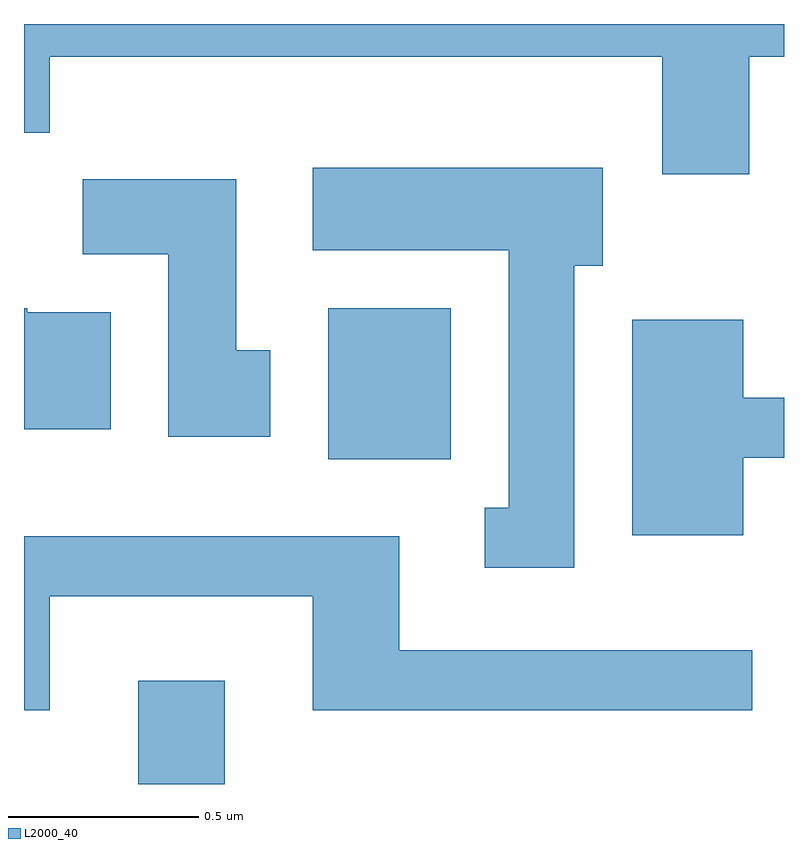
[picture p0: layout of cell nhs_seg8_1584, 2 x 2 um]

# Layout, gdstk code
import gdstk
lib = gdstk.Library(unit=1e-6, precision=1e-09)
def R(c, l, rs):  # rectangles x0, y0, x1, y1
    for r in rs: c.add(gdstk.rectangle(r[:2], r[2:], *l))
def P(c, l, *ps):  # polygons
    for p in ps: c.add(gdstk.Polygon(p, *l))
L2000_40 = (2000, 40)

nhs_seg8_1584 = lib.new_cell('nhs_seg8_1584')
R(nhs_seg8_1584, L2000_40, [(196.911,1883.342,197.139,1883.614), (197.411,1884.196,197.734,1884.594)])
P(nhs_seg8_1584, L2000_40, [(198.519,1885.256),(198.611,1885.256),(198.611,1885.342),(196.611,1885.342),(196.611,1885.056),(196.679,1885.056),(196.679,1885.256),(198.291,1885.256),(198.291,1884.946),(198.519,1884.946)],
  [(198.059,1884.706),(198.134,1884.706),(198.134,1884.964),(197.371,1884.964),(197.371,1884.746),(197.886,1884.746),(197.886,1884.069),(197.823,1884.069),(197.823,1883.911),(198.059,1883.911)],
  [(197.259,1884.484),(197.169,1884.484),(197.169,1884.934),(196.766,1884.934),(196.766,1884.736),(196.991,1884.736),(196.991,1884.256),(197.259,1884.256)],
  [(196.839,1884.584),(196.62,1884.584),(196.62,1884.594),(196.611,1884.594),(196.611,1884.276),(196.839,1884.276)],
  [(198.504,1884.201),(198.611,1884.201),(198.611,1884.359),(198.504,1884.359),(198.504,1884.564),(198.211,1884.564),(198.211,1883.996),(198.504,1883.996)],
  [(196.679,1883.836),(197.371,1883.836),(197.371,1883.536),(198.528,1883.536),(198.528,1883.694),(197.599,1883.694),(197.599,1883.994),(196.611,1883.994),(196.611,1883.536),(196.679,1883.536)])

lib.write_gds('nhs_seg8_1584.gds')
